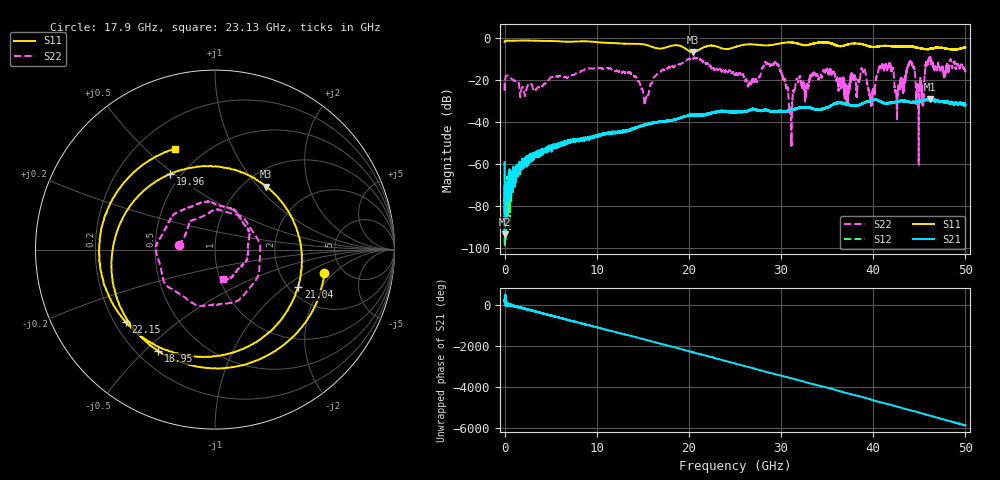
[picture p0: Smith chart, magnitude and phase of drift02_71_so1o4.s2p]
!Created with skrf (http://scikit-rf.org).
# Hz S RI R 50.0
!freq ReS11 ImS11 ReS21 ImS21 ReS12 ImS12 ReS22 ImS22
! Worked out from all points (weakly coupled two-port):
!   10001 points, 300 kHz to 50 GHz, reference 50 ohm
!   highest |S21| = -29.08 dB at 46.19 GHz (marker M1); lowest = -93.5 dB at 10.3 MHz (marker M2)
!   lowest |S11| = -6.9 dB at 20.46 GHz (marker M3), VSWR 2.65, Z = 62.8 + j55.2 ohm
!   |S11| at or under -10 dB: nowhere
!   |S22| runs from -60.5 to -9.0 dB; largest |S21 - S12| = 0.0034
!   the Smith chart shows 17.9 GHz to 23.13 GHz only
!   S11 on the Smith chart (normalised r, x): 17.9 GHz: 3.61, -1.53; 18.95 GHz: 0.28, -0.55; 19.96 GHz: 0.44, +0.48; 21.04 GHz: 2.24, -1.27; 22.15 GHz: 0.24, -0.34; 23.13 GHz: 0.35, +0.62
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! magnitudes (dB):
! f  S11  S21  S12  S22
! 300 kHz  -2.0  -59.2  -60.1  -21.3
! 10.3 MHz  -2.1  -93.5  -84.3  -25.3
! 8.335 GHz  -1.7  -48.3  -48.2  -15.7
! 15.33 GHz  -3.4  -41.2  -41.3  -29.1
! 16.67 GHz  -5.2  -40.0  -40.1  -16.9
! 17.9 GHz  -4.1  -39.3  -39.3  -13.9
! 18.95 GHz  -3.8  -38.2  -38.4  -12.5
! 19.96 GHz  -6.2  -37.1  -37.0  -10.1
! 20.46 GHz  -6.9  -37.1  -37.0  -10.0
! 21.04 GHz  -5.9  -36.7  -36.8  -10.0
! 22.15 GHz  -3.9  -36.4  -36.0  -13.3
! 23.13 GHz  -4.4  -35.1  -35.3  -15.3
! 25 GHz  -4.5  -35.2  -35.4  -17.6
! 29.51 GHz  -3.1  -35.0  -34.9  -12.6
! 31.04 GHz  -2.3  -34.5  -34.6  -34.6
! 33.34 GHz  -3.0  -33.5  -33.6  -18.1
! 38.91 GHz  -3.2  -31.3  -31.2  -16.2
! 39.76 GHz  -4.3  -30.0  -30.0  -30.4
! 41.67 GHz  -4.0  -31.0  -31.2  -13.1
! 45.15 GHz  -5.1  -29.9  -30.0  -20.0
! 46.19 GHz  -5.3  -29.1  -29.4  -9.5
! 50 GHz  -4.7  -31.9  -32.0  -15.9
